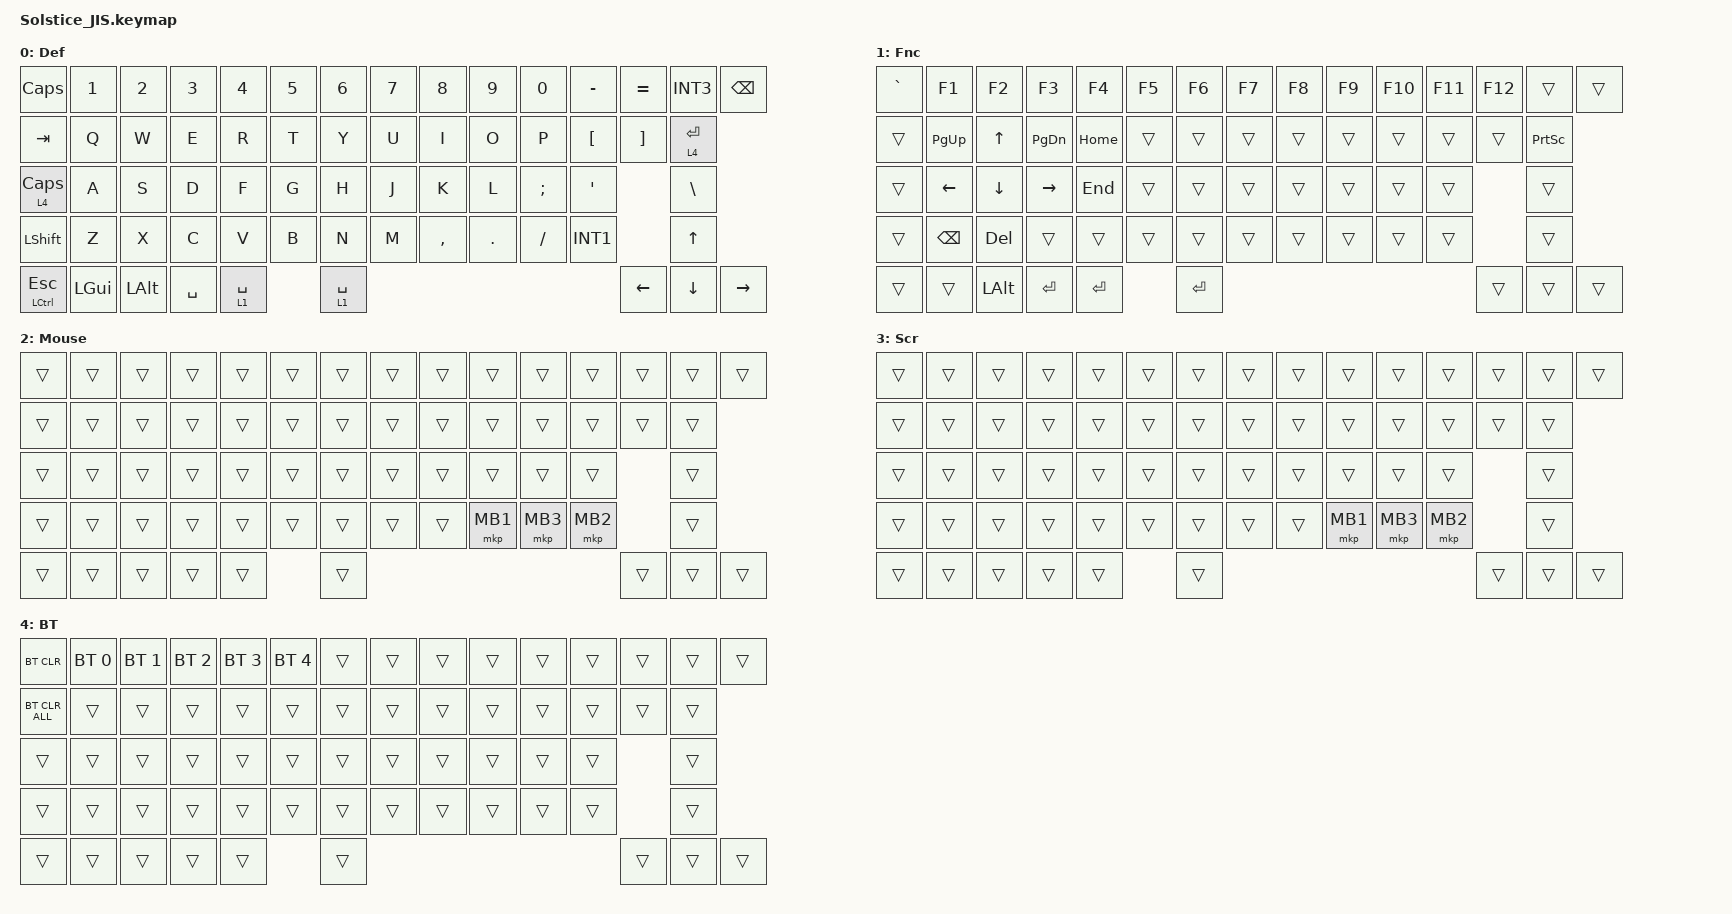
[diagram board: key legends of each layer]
#include <behaviors.dtsi>
#include <dt-bindings/zmk/keys.h>
#include <dt-bindings/zmk/pointing.h>
#include <dt-bindings/zmk/bt.h>
#include "layout_shift.dtsi"

#define MOUSE 2
#define SCROLL 3
#define BT 4

&mt {
	flavor = "tap-preferred";
};

/ {
    behaviors {
        // Keep the original key_press behavior for ZMK core components
        original_key_press: original_key_press {
            compatible = "zmk,behavior-key-press";
            #binding-cells = <1>;
            label = "KEY_PRESS";
        };

        // Override the existing &kp behavior to use our custom implementation
        kp: key_press {
            compatible = "zmk,behavior-layout-shift-key-press";
            #binding-cells = <1>;
            label = "LAYOUT_SHIFT_KEY_PRESS";
        };
    };
};

/ {
	keymap {
		compatible = "zmk,keymap";
		default_layer {
			display-name="Def";
			bindings = <
			&kp CAPS       &kp N1    &kp N2     &kp N3     &kp N4     &kp N5       &kp N6    &kp N7     &kp N8     &kp N9     &kp N0    &kp MINUS  &kp EQUAL      &kp INT3  &kp BKSP
			&kp TAB        &kp Q     &kp W      &kp E      &kp R      &kp T        &kp Y     &kp U      &kp I      &kp O      &kp P     &kp LBKT   &kp RBKT       &lt 4 ENTER
			&lt 4 CAPS     &kp A     &kp S      &kp D      &kp F      &kp G        &kp H     &kp J      &kp K      &kp L      &kp SEMI  &kp SQT                   &kp BSLH
			&kp LSHFT      &kp Z     &kp X      &kp C      &kp V      &kp B        &kp N     &kp M      &kp COMMA  &kp DOT    &kp FSLH  &kp INT1                  &kp UP
			&mt LCTL ESC   &kp LGUI  &kp LALT   &kp SPACE  &lt 1 SPACE             &lt 1 SPACE                                                           &kp LEFT &kp DOWN &kp RIGHT
			>;
		};
		
		function_layer {
			display-name="Fnc";
			bindings = <
			&kp GRAVE     &kp F1     &kp F2     &kp F3     &kp F4     &kp F5       &kp F6    &kp F7     &kp F8     &kp F9     &kp F10   &kp F11    &kp F12         &trans   &trans
			&trans        &kp PG_UP  &kp UP     &kp PG_DN  &kp HOME   &trans       &trans    &trans     &trans     &trans     &trans    &trans     &trans          &kp PSCRN
			&trans        &kp LEFT   &kp DOWN   &kp RIGHT  &kp END    &trans       &trans    &trans     &trans     &trans     &trans    &trans                     &trans
			&trans        &kp BKSP   &kp DEL    &trans     &trans     &trans       &trans    &trans     &trans     &trans     &trans    &trans                     &trans
			&trans        &trans     &kp LALT   &kp ENTER  &kp ENTER               &kp ENTER                                                              &trans   &trans   &trans
			>;
		};
		
		mouse_layer {
			display-name="Mouse";
			bindings = <
			&trans        &trans     &trans     &trans     &trans     &trans       &trans    &trans     &trans     &trans     &trans    &trans     &trans          &trans   &trans
			&trans        &trans     &trans     &trans     &trans     &trans       &trans    &trans     &trans     &trans     &trans    &trans     &trans          &trans
			&trans        &trans     &trans     &trans     &trans     &trans       &trans    &trans     &trans     &trans     &trans    &trans                     &trans
			&trans        &trans     &trans     &trans     &trans     &trans       &trans    &trans     &trans     &mkp MB1   &mkp MB3  &mkp MB2                   &trans
			&trans        &trans     &trans                &trans     &trans       &trans                                                                 &trans   &trans   &trans
			>;
		};
		
		scroll_layer {
			display-name="Scr";
			bindings = <
			&trans        &trans     &trans     &trans     &trans     &trans       &trans    &trans     &trans     &trans     &trans    &trans     &trans          &trans   &trans
			&trans        &trans     &trans     &trans     &trans     &trans       &trans    &trans     &trans     &trans     &trans    &trans     &trans          &trans
			&trans        &trans     &trans     &trans     &trans     &trans       &trans    &trans     &trans     &trans     &trans    &trans                     &trans
			&trans        &trans     &trans     &trans     &trans     &trans       &trans    &trans     &trans     &mkp MB1   &mkp MB3  &mkp MB2                   &trans
			&trans        &trans     &trans                &trans     &trans       &trans                                                                 &trans   &trans   &trans
			>;
		};
		
		bt_layer {
			display-name="BT";
			bindings = <
			&bt BT_CLR     &bt BT_SEL 0 &bt BT_SEL 1 &bt BT_SEL 2 &bt BT_SEL 3 &bt BT_SEL 4  &trans   &trans   &trans   &trans   &trans  &trans    &trans          &trans   &trans
			&bt BT_CLR_ALL &trans       &trans       &trans       &trans       &trans        &trans   &trans   &trans   &trans   &trans  &trans    &trans          &trans
			&trans         &trans       &trans       &trans       &trans       &trans        &trans   &trans   &trans   &trans   &trans  &trans                    &trans
			&trans         &trans       &trans       &trans       &trans       &trans        &trans   &trans   &trans   &trans   &trans  &trans                    &trans
			&trans         &trans       &trans       &trans       &trans                     &trans                                                       &trans   &trans   &trans
			>;
		};
	};
};
